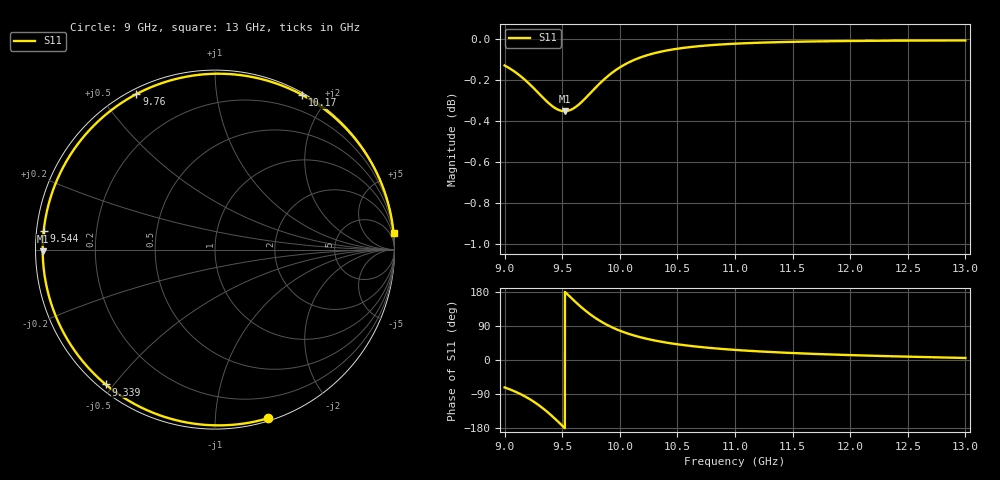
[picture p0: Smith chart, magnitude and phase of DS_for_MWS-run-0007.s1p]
! TOUCHSTONE file generated by CST DESIGN STUDIO
! Date and time: Tue Feb  4 13:37:48 2025
! Project name: C:\Work\MatlabApps\UnitCellOptimizationMatlab\CST\unitcell.cst
! Tree item: Tasks\Sweep1\SPara1\S-Parameters
! Header version: 2024
! Port assignment regex: !\s*Touchstone port\s*([0-9]+)\s*=\s*(CST MWS port|CST DES external port|CST DES block port)\s*(.+)\s* \(\"(.*)\"\)(\s*mode\s*([0-9]+))?.*
! Touchstone port assignment:
! Touchstone port 1 = CST DES external port 1 ("")
# GHz S MA R 50
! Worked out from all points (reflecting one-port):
!   4001 points, 9 GHz to 13 GHz, reference 50 ohm
!   lowest |S11| = -0.4 dB at 9.521 GHz (marker M1), VSWR 49.19, Z = 1.02 - j0.261 ohm
!   phase of S11 starts at -72 deg and turns -282 deg over the sweep
!   S11 on the Smith chart (normalised r, x): 9 GHz: 0.02, -1.37; 9.339 GHz: 0.02, -0.48; 9.544 GHz: 0.02, +0.05; 9.76 GHz: 0.02, +0.62; 10.17 GHz: 0.02, +1.71; 13 GHz: 0, +21
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9  0.985 -72.4
9.093  0.9813 -83.5
9.198  0.9759 -99.7
9.272  0.9714 -113.9
9.339  0.9671 -129.0
9.383  0.9644 -140.1
9.428  0.9622 -152.4
9.5  0.9603 -173.2
9.521  0.9602 -179.4
9.544  0.9603 173.8
9.598  0.9616 158.0
9.658  0.9645 141.4
9.709  0.9676 128.5
9.76  0.9709 116.8
9.81  0.9742 106.5
9.865  0.9775 96.6
9.932  0.981 86.3
10  0.984 77.4
10.082  0.9868 68.5
10.171  0.9893 60.6
10.321  0.9921 50.4
10.5  0.9943 41.5
10.721  0.9959 33.6
11  0.9971 26.6
11.5  0.9982 18.4
12  0.9986 12.9
12.5  0.9988 8.8
13  0.9989 5.4
